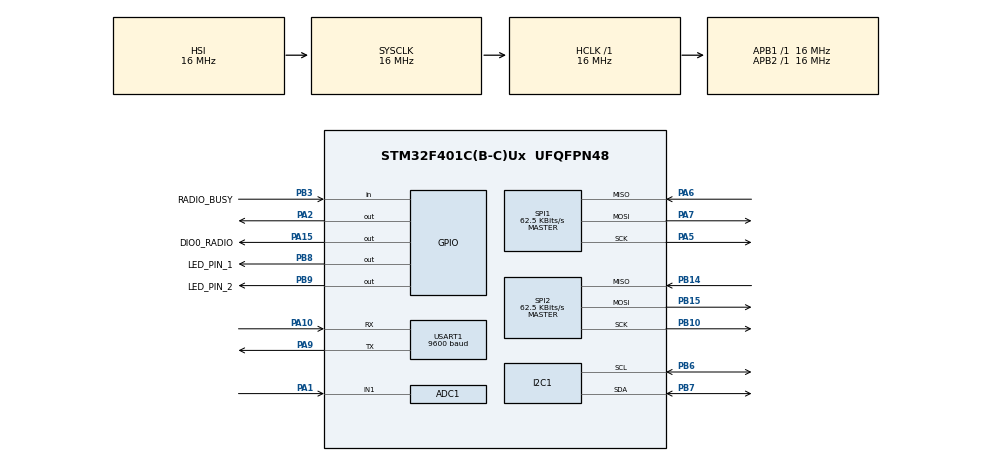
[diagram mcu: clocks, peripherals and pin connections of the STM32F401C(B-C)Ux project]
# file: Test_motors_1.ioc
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ADC1.Channel-0\#ChannelRegularConversion=ADC_CHANNEL_1
ADC1.NbrOfConversionFlag=1
ADC1.Rank-0\#ChannelRegularConversion=1
ADC1.SamplingTime-0\#ChannelRegularConversion=ADC_SAMPLETIME_3CYCLES
ADC1.master=1
Mcu.Family=STM32F4
Mcu.Name=STM32F401C(B-C)Ux
Mcu.Package=UFQFPN48
NVIC.PriorityGroup=NVIC_PRIORITYGROUP_4
PA1.Signal=ADCx_IN1
PA10.Mode=Asynchronous
PA10.Signal=USART1_RX
PA15.GPIO_Label=DIO0_RADIO
PA15.Signal=GPIO_Output
PA2.GPIO_ModeDefaultOutputPP=GPIO_MODE_OUTPUT_OD
PA2.GPIO_PuPd=GPIO_NOPULL
PA2.Signal=GPIO_Output
PA5.Mode=Full_Duplex_Master
PA5.Signal=SPI1_SCK
PA6.Mode=Full_Duplex_Master
PA6.Signal=SPI1_MISO
PA7.Mode=Full_Duplex_Master
PA7.Signal=SPI1_MOSI
PA9.Mode=Asynchronous
PA9.Signal=USART1_TX
PB10.Mode=Full_Duplex_Master
PB10.Signal=SPI2_SCK
PB14.Mode=Full_Duplex_Master
PB14.Signal=SPI2_MISO
PB15.Mode=Full_Duplex_Master
PB15.Signal=SPI2_MOSI
PB3.GPIO_Label=RADIO_BUSY
PB3.Signal=GPIO_Input
PB6.Mode=I2C
PB6.Signal=I2C1_SCL
PB7.Mode=I2C
PB7.Signal=I2C1_SDA
PB8.GPIO_Label=LED_PIN_1
PB8.Signal=GPIO_Output
PB9.GPIO_Label=LED_PIN_2
PB9.Signal=GPIO_Output
PH0\ -\ OSC_IN.Mode=HSE-External-Oscillator
PH0\ -\ OSC_IN.Signal=RCC_OSC_IN
PH1\ -\ OSC_OUT.Mode=HSE-External-Oscillator
PH1\ -\ OSC_OUT.Signal=RCC_OSC_OUT
ProjectManager.HeapSize=0x400
ProjectManager.StackSize=0x800
ProjectManager.TargetToolchain=STM32CubeIDE
RCC.AHBFreq_Value=16000000
RCC.APB1Freq_Value=16000000
RCC.APB2Freq_Value=16000000
RCC.CortexFreq_Value=16000000
RCC.HSE_VALUE=25000000
RCC.HSI_VALUE=16000000
RCC.LSE_VALUE=32768
RCC.SYSCLKFreq_VALUE=16000000
RCC.VCOOutputFreq_Value=192000000
SH.ADCx_IN1.0=ADC1_IN1,IN1
SPI1.BaudRatePrescaler=SPI_BAUDRATEPRESCALER_256
SPI1.CalculateBaudRate=62.5 KBits/s
SPI1.Direction=SPI_DIRECTION_2LINES
SPI1.Mode=SPI_MODE_MASTER
SPI1.VirtualType=VM_MASTER
SPI2.BaudRatePrescaler=SPI_BAUDRATEPRESCALER_256
SPI2.CalculateBaudRate=62.5 KBits/s
SPI2.Direction=SPI_DIRECTION_2LINES
SPI2.Mode=SPI_MODE_MASTER
SPI2.VirtualType=VM_MASTER
USART1.BaudRate=9600
USART1.VirtualMode=VM_ASYNC
board=custom

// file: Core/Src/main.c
/* USER CODE BEGIN Header */
/**
  ******************************************************************************
  * @file           : main.c
  * @brief          : Main program body
  ******************************************************************************
  * @attention
  *
  * Copyright (c) 2026 STMicroelectronics.
  * All rights reserved.
  *
  * This software is licensed under terms that can be found in the LICENSE file
  * in the root directory of this software component.
  * If no LICENSE file comes with this software, it is provided AS-IS.
  *
  ******************************************************************************
  */
/* USER CODE END Header */
#include "main.h"
#include "adc.h"
#include "i2c.h"
#include "spi.h"
#include "usart.h"
#include "gpio.h"

/* USER CODE BEGIN Includes */
#include "serial_print.h"
#include "pca9685.h"
#include "servo_control.h"
#include <stdio.h>
#include <stdbool.h>
/* USER CODE END Includes */

/* USER CODE BEGIN PV */
Servo_HandleTypeDef myServo1;
Servo_HandleTypeDef myServo2;
/* USER CODE END PV */

void SystemClock_Config(void);

int main(void)
{

  /* MCU Configuration--------------------------------------------------------*/

  /* Reset of all peripherals, Initializes the Flash interface and the Systick. */
  HAL_Init();

  /* Configure the system clock */
  SystemClock_Config();

  /* Initialize all configured peripherals */
  MX_GPIO_Init();
  MX_ADC1_Init();
  MX_I2C1_Init();
  MX_SPI1_Init();
  MX_SPI2_Init();
  MX_USART1_UART_Init();
  /* USER CODE BEGIN 2 */
  Serial_Printf(&huart1, "\r\n--- Servo Control Only INIT ---\r\n");
  HAL_GPIO_WritePin(LED_PIN_1_GPIO_Port, LED_PIN_1_Pin, 1);

    // Инициализация PCA9685.
    // ВАЖНО: передаем 50 Гц, так как это стандарт для сервомоторов
    PCA9685_Init(50);

    if (HAL_I2C_IsDeviceReady(&hi2c1, PCA9685_I2C_ADDR << 1, 3, 100) == HAL_OK) {
        Serial_Printf(&huart1, "SUCCESS: PCA9685 is online!\r\n");
    } else {
        Serial_Printf(&huart1, "ERROR: PCA9685 NOT found on I2C!\r\n");
    }

    // Инициализация сервопривода на 6-й канал PCA9685
    Servo_Init(&myServo1, 7);
    Servo_Init(&myServo2, 4);

    Serial_Printf(&huart1, "PCA9685 initialized. Starting servo sequence...\r\n");
  /* USER CODE END 2 */

  /* Infinite loop */
  /* USER CODE BEGIN WHILE */
    // Переменные для отсчета времени без использования блокирующего HAL_Delay()
      uint32_t servo_timer = HAL_GetTick();
      uint8_t servo_step = 0;

      while (1)
      {
          // Проверяем, прошла ли 1 секунда (1000 мс)
          if (HAL_GetTick() - servo_timer >= 1000) {
              servo_timer = HAL_GetTick(); // Сбрасываем таймер

              // Автомат состояний для движения по кругу: 90 -> 0 -> 90 -> 180 -> 90 -> ...
              switch (servo_step) {
                  case 0:
                      Servo_SetAngle(&myServo1, 90);
                      Servo_SetAngle(&myServo2, 90);
                      Serial_Printf(&huart1, "Servo: 90 deg\r\n");
                      servo_step = 1;
                      break;
                  case 1:
                      Servo_SetAngle(&myServo1, 0);
                      Servo_SetAngle(&myServo2, 0);
                      Serial_Printf(&huart1, "Servo: 0 deg\r\n");
                      servo_step = 0;
                      break;
                  case 2:
                      Servo_SetAngle(&myServo2, 90);
                      Serial_Printf(&huart1, "Servo: 90 deg\r\n");
                      servo_step = 3;
                      break;
                  case 3:
                      Servo_SetAngle(&myServo2, 0);
                      Serial_Printf(&huart1, "Servo: 180 deg\r\n");
                      servo_step = 0;
                      break;
              }
          }
    /* USER CODE END WHILE */

  }
}

void SystemClock_Config(void)
{
  RCC_OscInitTypeDef RCC_OscInitStruct = {0};
  RCC_ClkInitTypeDef RCC_ClkInitStruct = {0};

  /** Configure the main internal regulator output voltage
  */
  __HAL_RCC_PWR_CLK_ENABLE();
  __HAL_PWR_VOLTAGESCALING_CONFIG(PWR_REGULATOR_VOLTAGE_SCALE2);

  /** Initializes the RCC Oscillators according to the specified parameters
  * in the RCC_OscInitTypeDef structure.
  */
  RCC_OscInitStruct.OscillatorType = RCC_OSCILLATORTYPE_HSI;
  RCC_OscInitStruct.HSIState = RCC_HSI_ON;
  RCC_OscInitStruct.HSICalibrationValue = RCC_HSICALIBRATION_DEFAULT;
  RCC_OscInitStruct.PLL.PLLState = RCC_PLL_NONE;
  if (HAL_RCC_OscConfig(&RCC_OscInitStruct) != HAL_OK)
  {
    Error_Handler();
  }

  /** Initializes the CPU, AHB and APB buses clocks
  */
  RCC_ClkInitStruct.ClockType = RCC_CLOCKTYPE_HCLK|RCC_CLOCKTYPE_SYSCLK
                              |RCC_CLOCKTYPE_PCLK1|RCC_CLOCKTYPE_PCLK2;
  RCC_ClkInitStruct.SYSCLKSource = RCC_SYSCLKSOURCE_HSI;
  RCC_ClkInitStruct.AHBCLKDivider = RCC_SYSCLK_DIV1;
  RCC_ClkInitStruct.APB1CLKDivider = RCC_HCLK_DIV1;
  RCC_ClkInitStruct.APB2CLKDivider = RCC_HCLK_DIV1;

  if (HAL_RCC_ClockConfig(&RCC_ClkInitStruct, FLASH_LATENCY_0) != HAL_OK)
  {
    Error_Handler();
  }
}

void Error_Handler(void)
{
  __disable_irq();
  while (1)
  {
  }
}
